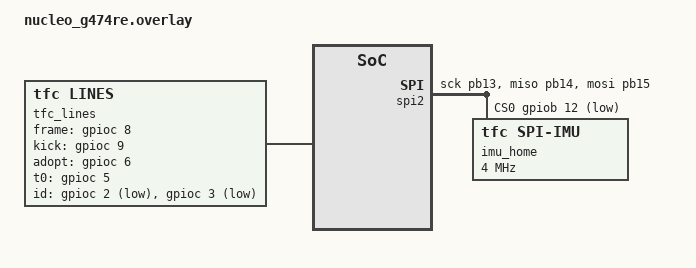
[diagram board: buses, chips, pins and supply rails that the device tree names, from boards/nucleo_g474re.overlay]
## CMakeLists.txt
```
cmake_minimum_required(VERSION 3.20.0)
find_package(Zephyr REQUIRED HINTS $ENV{ZEPHYR_BASE})
project(tfc_app LANGUAGES C CXX)

# core/ is consumed as-is: header-only, no heap, no exceptions, no RTTI.
target_include_directories(app PRIVATE ${CMAKE_CURRENT_LIST_DIR}/../../core/include ${CMAKE_CURRENT_LIST_DIR}/../common)
target_sources(app PRIVATE src/main.cpp)

# The release this image is (ADR-021): the first four hex digits of the source's git hash, unless CONFIG_TFC_RELEASE_ID names one. Two images built from different commits report
# different releases in their heartbeat; the golden release is simply the image built from an older tagged commit. Outside a git checkout it is 0, "not reported".
execute_process(COMMAND git rev-parse --short=4 HEAD WORKING_DIRECTORY ${CMAKE_CURRENT_LIST_DIR} OUTPUT_VARIABLE TFC_GIT_SHORT OUTPUT_STRIP_TRAILING_WHITESPACE ERROR_QUIET RESULT_VARIABLE TFC_GIT_RC)
if(TFC_GIT_RC EQUAL 0 AND TFC_GIT_SHORT MATCHES "^[0-9a-f][0-9a-f][0-9a-f][0-9a-f]$")
  target_compile_definitions(app PRIVATE TFC_RELEASE_HASH_AUTO=0x${TFC_GIT_SHORT})
else()
  target_compile_definitions(app PRIVATE TFC_RELEASE_HASH_AUTO=0)
endif()

# Another vehicle's tables: `west build ... -DTFC_TABLES_HEADER=/path/flight_tables.hpp` (main.cpp includes it in place of the committed one). Unset: the committed tables, as always.
if(DEFINED TFC_TABLES_HEADER)
  target_compile_definitions(app PRIVATE "TFC_FLIGHT_TABLES_HEADER=\"${TFC_TABLES_HEADER}\"")
endif()

# Replicas must compute the same bits as each other and as the host (ADR-006): no fused multiply-add (-ffast-math stays off).
target_compile_options(app PRIVATE -ffp-contract=off)
```

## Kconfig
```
# SPDX-License-Identifier: MIT
mainmenu "Triplex flight computer"

config TFC_NODE_ID
	int "Flight computer node id (0 = A, 1 = B, 2 = C)"
	default 0
	range 0 2
	help
	  The same image runs on every flight computer; only this id differs (STAGED_BUILD rule 1).
	  Node 0 is the sync master at power-up; nodes 1 and 2 follow its SYNC and take over, lowest first, if it stops.

config TFC_SYNC_STAGGER_US
	int "Stagger of the SYNC wait windows between nodes (microseconds)"
	default 500
	range 200 3000
	help
	  The wait for SYNC lasts 1.0 ms plus this much for each node after A, so the lowest node's takeover SYNC is heard by the others before their own
	  windows end (ADR-025). It must exceed the receive latency of a frame. The host's native_sim CAN driver polls its socket every millisecond, so
	  the host board file lengthens it.

config TFC_VOTE_US
	int "Time of the vote within the frame (microseconds after SYNC)"
	default 7000
	range 6000 9000
	help
	  The schedule's vote slot (ARCHITECTURE section 3). The host's native_sim CAN driver polls its socket every millisecond, so with several
	  instances on one vcan0 a peer's command can reach a node up to about 2 ms after the peer sent it; the host board file moves the vote later.

config TFC_FLIGHT_FUNCTION
	bool "Compute the command with the flight function"
	default n
	help
	  On: the command is the output of the sensor consensus, the attitude estimator and the scheduled controller (core/include/tfc/flight.hpp),
	  using the pitch program and gains in flight_tables.hpp. Off (default): a scripted function of the frame number, which the Python virtual
	  peers reproduce bit for bit, so they can stand in for the other two nodes.

config TFC_ESTIMATOR_NO_ACCEL
	bool "The attitude estimator ignores the accelerometer"
	depends on TFC_FLIGHT_FUNCTION
	default n
	help
	  On: the attitude is the gyro's integral (EstimatorConfig::use_accel false), as for a vehicle that flies under thrust, where the accelerometer reads the thrust and not gravity.
	  Off (default): the accelerometer corrects the tilt while the specific force is within 0.3 g of 1 g, as on the platform on the bench. The rig builds a vehicle other than the
	  reference one with this on (tools/bench/build_vehicle_rig.py).

config TFC_LAUNCH_SEQUENCE
	bool "The launch sequence: pad calibration, mission frame, launch and scrub, go/no-go"
	depends on TFC_FLIGHT_FUNCTION
	default n
	help
	  On: each computer calibrates its own gyro on the pad (10 s at rest) and subtracts the bias before it sends; the mission frame rides in SYNC (the sync master
	  starts it on an authenticated `launch` that passes the go/no-go, and scrubs on a failure during the 10 s countdown); the schedules follow the frames since T-zero
	  and sit at their first point on the pad; the heartbeat carries a ready bit (docs/design/LAUNCH_SEQUENCE.md). Off: the schedules follow the SYNC frame number, as before.

config TFC_PHASES
	bool "Keep the mission phase and the WARM role (ADR-023)"
	default n
	help
	  On: the manager starts in the power-up phase; the authenticated `phase` command changes it (refused when fewer computers vote than the new phase's minimum), `warm` rests
	  a computer (judged by the shadow vote, not voting; `reintegrate` promotes it) and the `disable` tiers follow the phase (docs/design/MISSION_PHASES.md). Below the minimum is reported,
	  never acted on. Off: the interlock tiers of ADR-019 apply, as before.

config TFC_SENSOR_SPLIT
	bool "Judge each IMU apart from its computer (the sensor/compute split)"
	default TFC_FLIGHT_FUNCTION
	help
	  On: a bad IMU is excluded from the sensor consensus and its computer stays a voter for commands for as long as its commands agree; a bad computer is
	  excluded from the command vote and its IMU stays in the consensus (ADR-020 case 1, TS-15: option B). Off: a computer is one unit and a bad IMU latches the
	  whole computer, which is what the scripted virtual peers' fault tests expect. On by default with the flight function, which is where the consensus exists.

config TFC_RESYNC_PERIOD
	int "State resynchronisation period in frames (0: off)"
	default 100
	range 0 10000
	help
	  With the flight function on, every this many frames the computers exchange their estimator and controller state (four frames each, 0x420 to 0x42B) and
	  each adopts the mid-value of the healthy computers' states, if it has all of them (docs/design/RESYNC.md, ADR-030, TS-23). 100 is the proposed default (TS-23).
	  The manager's digest persistence is then set to twice this plus 50 frames, so that a mismatch the resync would heal is not counted. Ignored without the
	  flight function.

config TFC_RESYNC_GROUP
	hex "Computers that take part in the resynchronisation (bit n = node n)"
	default 0x07
	range 0 0x07
	help
	  The same value on every computer. A computer outside the group neither sends its state nor adopts the vote: the diverse computer of ADR-021 (the
	  golden release) is left out with 0x03 so that the resync does not erase the differences it exists to show (docs/design/RESYNC.md section 6).

config TFC_TEST_DROP_PEERS_FIRST
	int "Test knob: first frame in which this computer withholds every sensor frame from its flight function"
	default 0
	help
	  A test aid, off at 0 together with the next one. From the frame with this SYNC number, for TFC_TEST_DROP_PEERS_FRAMES frames, this computer does not give
	  any sensor frame, its peers' or its own, to its flight function (the manager still sees them), so its consensus has no trustworthy gyro, its estimator holds its
	  rates and the replicas diverge deterministically. Used by the live resynchronisation test (sim/tests/test_live_resync.py); never set in a flight build.

config TFC_TEST_DROP_PEERS_FRAMES
	int "Test knob: how many frames the peers' sensor frames are withheld"
	default 0

config TFC_RELEASE_ID
	hex "The release this image reports in its heartbeat (0: the first four hex digits of the git hash)"
	default 0x0
	range 0 0xFFFF
	help
	  Computers on different releases are compared with the version tolerance and not blamed for differing from each other (ADR-021, docs/design/RESYNC.md section 6). The default
	  makes every image built from a different commit a different release. Set it by hand to build two releases from one tree (the live mixed-release test does).

config TFC_TEST_HANG_AT_FRAME
	int "Test knob: from this frame the end-of-frame KICK stops (0: off)"
	default 0
	help
	  A bench aid for the supervisor's procedure (P-S2-03): from the frame with this SYNC number the node no longer raises its KICK line, while everything else
	  (frames, heartbeat, watchdog) goes on, so the supervisor has to be the one that acts. Never set in a flight build.

config TFC_TEST_T0_AT_FRAMES_TO_ZERO
	int "Test knob: the T0 line rises when this many frames remain to T-zero (0: off)"
	default 0
	help
	  A bench aid for the launch procedure on a board without the supervisor: the line is read as high from the frame in the countdown that has this many frames left, which stands in
	  for the supervisor's edge (the sync master accepts it only in the last second, `SyncClock::kT0Window`). Never set in a flight build.

config TFC_TEST_CMD_OFFSET_MDEG
	int "Test knob: milli-degrees added to this computer's pitch command (0: off)"
	default 0
	help
	  A bench aid (P-S3-01, the live mixed-release test): a computer whose commands are off by a known amount. Never set in a flight build.

config TFC_TEST_GYRO_BIAS_MDPS
	int "Test knob: milli-dps added to this computer's gyro x sample (0: off)"
	default 0
	help
	  A bench aid (P-S3-01): an IMU with a known bias, sent as it is, so that the sensor consensus and the sensor split can be exercised on the real bus. Never set in a flight build.

config TFC_TEST_GYRO_DRIFT_MDPS_PER_FRAME
	int "Test knob: milli-dps added to the gyro x bias in every frame, cumulative (0: off)"
	default 0
	help
	  A bench aid (P-S3-01): an IMU that drifts, 50 being 0.05 dps per frame. Never set in a flight build.

config TFC_TEST_CLOCK_PPM
	int "Test knob: the sync master's frame period is this many ppm long (0: off)"
	default 0
	help
	  A bench aid (P-S2-03): a master whose frame clock runs slow (positive) or fast (negative) by a known amount, for the supervisor's period check. Only the master drives the
	  period; followers lock to SYNC. Never set in a flight build.

config TFC_SIM_BUS_IMU
	bool "Take the sensor input from the simulator's frames on the bus"
	default n
	help
	  On: the node's simulated IMU reads the vehicle simulator's body rates and accelerations (ids 0x501 and 0x502, sent just after SYNC) and adds
	  its own noise, instead of the scripted motion. Only for host builds; on the board the IMU is the ISM330DHCX.

config TFC_AUTO_REINTEGRATE
	bool "Automatically readmit a node after a first, transient-looking latch"
	default n
	help
	  Off (default): a latched node is only readmitted when an operator sends a "reintegrate" ground
	  command, and only after it has passed probation (the Space Shuttle / airliner practice).
	  On: after the minimum dwell, a node whose FIRST latch had a transient-looking cause (missing or
	  damaged frames, one vote episode) goes on probation by itself. A stuck sensor, a digest
	  mismatch and a repeat offender are never readmitted automatically. See docs/decisions/DECISIONS.md ADR-010.

config TFC_GROUND_KEY
	string "Ground-command authentication key (32 hex digits = 128 bits)"
	default "000102030405060708090a0b0c0d0e0f"
	help
	  The shared key for the SipHash-2-4 tag on ground commands (docs/decisions/DECISIONS.md ADR-019). The default is the PUBLIC
	  bench key that the host tools and the tests also use, so the bench works out of the box. It protects nothing:
	  provision your own before any real use (docs/design/FUTURE_WORK.md). The value ends up in the binary and in the build
	  directory: it is a bench secret at best, not a flight key store.

source "Kconfig.zephyr"

config TFC_WATCHDOG_TIMEOUT_MS
	int "Hardware watchdog timeout (ms)"
	default 100
	range 20 4000
	help
	  The watchdog is serviced once per frame, at the end of a completed frame (TFC-FDIR-038). The default is ten frames: loose
	  enough to survive a long console line on the target, tight enough to catch a hang in a tenth of a second. The requirement's
	  proposal is three frames (30 ms); tighten it once the frame time with the console is measured on the board.

config TFC_QUARANTINE_ON_RESET_LOOP
	bool "Stay silent after a reset loop"
	default y
	help
	  After TFC_RESET_LOOP_BOOTS fault resets in a row, each after a boot shorter than TFC_SHORT_BOOT_S, the node stops transmitting
	  and says so on the console once a second until it is power-cycled (TFC-FDIR-042). The others then see a silent node.

config TFC_RESET_LOOP_BOOTS
	int "Short boots in a row that make a reset loop"
	default 3
	range 1 20

config TFC_SHORT_BOOT_S
	int "A boot shorter than this many seconds is short"
	default 60
	range 1 3600
```

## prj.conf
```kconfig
CONFIG_CPP=y
CONFIG_STD_CPP17=y
# Flight-code rules (ARCHITECTURE.md section 6): no exceptions, no RTTI.
CONFIG_CPP_EXCEPTIONS=n
CONFIG_CPP_RTTI=n
# core/ uses <array> and <cmath>, so link the toolchain's full libstdc++ (header-only use, no heap).
CONFIG_REQUIRES_FULL_LIBCPP=y

# Flight bus
CONFIG_CAN=y

# The hardware seams of src/hw.hpp: the IMU's SPI bus, the discrete lines, the watchdog, the reset cause.
CONFIG_SPI=y
CONFIG_GPIO=y
CONFIG_WATCHDOG=y
CONFIG_HWINFO=y

# The frame schedule has 0.5 ms slots (ARCHITECTURE.md section 3): 100 us kernel ticks, not the default 10 ms.
CONFIG_SYS_CLOCK_TICKS_PER_SEC=10000

# No dynamic memory (JPL Power of Ten rule 3, docs/verification/CODING_STANDARD.md). With the C library's malloc removed, any
# accidental use of the heap becomes a link error instead of a field failure.
CONFIG_COMMON_LIBC_MALLOC=n

# The frame loop runs on the main thread, with a drain lambda and a few frames on its stack.
CONFIG_MAIN_STACK_SIZE=4096
```

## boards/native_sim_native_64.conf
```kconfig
# Run in wall-clock time so the host's SocketCAN peers see a real 100 Hz schedule.
CONFIG_NATIVE_SIM_SLOWDOWN_TO_REAL_TIME=y

# The host CAN driver polls the socket every 1 ms (zephyr/drivers/can/can_native_linux.c), so a peer's frames reach us up to 1 ms late and a follower
# locks to SYNC up to 1 ms late: the vote moves from 7 ms to 8 ms, or about one command in eleven would miss it.
CONFIG_TFC_VOTE_US=8000

# ... and the takeover SYNC of B can reach C up to 1 ms after it was sent, so the stagger of the SYNC windows must exceed that (ADR-025).
CONFIG_TFC_SYNC_STAGGER_US=2500
```

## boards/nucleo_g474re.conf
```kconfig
# Receive timestamps on the FDCAN peripheral: the arrival time of every frame, for the margin telemetry of TFC-FDIR-037.
CONFIG_CAN_RX_TIMESTAMP=y

# A stack that overflows is caught by the MPU as a fatal fault (the node's handler records it, and the watchdog resets the board) instead of overwriting what lies below it (docs/design/FUTURE_WORK.md 6b item 12).
CONFIG_HW_STACK_PROTECTION=y
```

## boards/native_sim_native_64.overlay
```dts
/* Put the flight bus on the host's vcan0 (create it with sim/scripts/setup_vcan.sh). */
/ {
	chosen {
		zephyr,canbus = &can0;
	};
};

&can0 {
	status = "okay";
	host-interface = "vcan0";
};
```

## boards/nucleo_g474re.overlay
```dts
/* Nucleo-G474RE: the flight computer's wiring (docs/design/SUPERVISOR.md, docs/hardware/STAGED_BUILD.md rules 10 and 11).
 *
 * Every pin below was looked up in the morpho-connector map that Zephyr takes from ST's data
 * (boards/st/nucleo_g474re/st_morpho_connector.dtsi); the connector pin is in each comment. Check each against the
 * board in hand before wiring: a pin can be shared with a solder bridge or the ST-LINK.
 *
 * Avoided on purpose: PA5 (the user LED, the old SPI1 clock), PA2/PA3 (the ST-LINK serial port), PA13/PA14 (SWD),
 * PC13 (the user button), PC4/PC5 (USART1), PB8/PB9 (I2C1), PA11/PA12 (FDCAN1, from the board file).
 */

/* The home IMU on SPI2. Chip select is a plain GPIO, so the hardware NSS function is dropped from the pin list.
 * SCK PB13 (CN10 30), MISO PB14 (CN10 28), MOSI PB15 (CN10 26), CS PB12 (CN10 16). */
&spi2 {
	pinctrl-0 = <&spi2_sck_pb13 &spi2_miso_pb14 &spi2_mosi_pb15>;
	pinctrl-names = "default";
	cs-gpios = <&gpiob 12 (GPIO_ACTIVE_LOW | GPIO_PULL_UP)>;
	status = "okay";

	imu_home: imu@0 {
		compatible = "tfc,spi-imu";
		reg = <0>;
		spi-max-frequency = <4000000>;
	};
};

/* SPI3 is reserved for the backup IMU of the ring re-homing (ADR-020, a later stretch): SCK PC10 (CN7 1),
 * MISO PC11 (CN7 2), MOSI PC12 (CN7 3), CS PA15 (CN7 17). Disabled so that nothing drives those pins yet. */
&spi3 {
	status = "disabled";
};

/* SPI1 is not used: it would take PA5, the LED pin. */
&spi1 {
	status = "disabled";
};

/ {
	tfc_lines: tfc-lines {
		compatible = "tfc,lines";
		/* FRAME PC8 (CN10 2), KICK PC9 (CN10 1), ADOPT PC6 (CN10 4), T0 PC5 (CN10 6: check against UM2505 before wiring); straps PC2 (CN7 35) and PC3 (CN7 37), to ground = 1 */
		frame-gpios = <&gpioc 8 GPIO_ACTIVE_HIGH>;
		kick-gpios = <&gpioc 9 GPIO_ACTIVE_HIGH>;
		adopt-gpios = <&gpioc 6 (GPIO_ACTIVE_HIGH | GPIO_PULL_DOWN)>;
		t0-gpios = <&gpioc 5 (GPIO_ACTIVE_HIGH | GPIO_PULL_DOWN)>;
		id-gpios = <&gpioc 2 (GPIO_ACTIVE_LOW | GPIO_PULL_UP)>,
			   <&gpioc 3 (GPIO_ACTIVE_LOW | GPIO_PULL_UP)>;
	};
};
```

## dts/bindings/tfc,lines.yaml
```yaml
# SPDX-License-Identifier: MIT
description: |
  The discrete lines between a node and the supervisor (docs/design/SUPERVISOR.md), and the node-id strap pins.
  FRAME: a pulse at the start of every frame. KICK: a pulse at the end of a completed frame, driven only from the
  end-of-frame path (TFC-FDIR-038). ADOPT: an input from the supervisor (the ring re-homing stretch, ADR-020). T0: an input from the supervisor, high from its T-zero on (ADR-028).

compatible: "tfc,lines"

properties:
  frame-gpios:
    type: phandle-array
    required: true
  kick-gpios:
    type: phandle-array
    required: true
  adopt-gpios:
    type: phandle-array
  t0-gpios:
    type: phandle-array
    description: An input from the supervisor, high from its T-zero on (ADR-028). Optional; without it the countdown runs out on its own.
  id-gpios:
    type: phandle-array
    required: true
    description: Two straps, bit 0 then bit 1; a strap tied to ground reads as 1 (active low).
```

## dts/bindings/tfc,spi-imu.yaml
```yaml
# SPDX-License-Identifier: MIT
description: |
  A SPI IMU that the application drives with its own register driver (core/include/tfc/ism330dhcx.hpp), so that the
  chip is configured in exactly one place and the same code is tested on the host. Deliberately not "st,ism330dhcx":
  that would also start Zephyr's own driver on the same part.

compatible: "tfc,spi-imu"

include: spi-device.yaml
```

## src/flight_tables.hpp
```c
// SPDX-License-Identifier: MIT
// GENERATED by tools/vehicle/gen_tables.cpp from the 6-DOF vehicle's nominal ascent (sim/vehicle/design.hpp). Do not edit.
// Regenerate: build/host/tfc_gen_tables firmware/app/src/flight_tables.hpp
#pragma once
#include "tfc/controller.hpp"

namespace fc::tables {

inline void load(tfc::GainSchedule& gains, tfc::Guidance& guidance) {
  (void)guidance.add(1U, 0U, 0.0F);
  (void)guidance.add(1U, 666U, 0.0F);
  (void)guidance.add(1U, 1333U, 1.0F);
  (void)guidance.add(1U, 2000U, 1.9371593F);
  (void)guidance.add(1U, 2666U, 3.6858659F);
  (void)guidance.add(1U, 3333U, 5.882858F);
  (void)guidance.add(1U, 4000U, 8.407911F);
  (void)guidance.add(1U, 4666U, 11.147839F);
  (void)guidance.add(1U, 5333U, 14.034486F);
  (void)guidance.add(1U, 6000U, 17.008535F);
  (void)guidance.add(1U, 6666U, 19.983587F);
  (void)guidance.add(1U, 7333U, 22.851122F);
  (void)guidance.add(1U, 8000U, 25.538433F);
  (void)guidance.add(1U, 8666U, 28.024189F);
  (void)guidance.add(1U, 9333U, 30.31013F);
  (void)guidance.add(1U, 10000U, 32.395042F);
  (void)gains.add(0U, tfc::ControllerGains{0.76568544F, 0.4900387F, 0.15313709F});
  (void)gains.add(600U, tfc::ControllerGains{0.74287623F, 0.47348642F, 0.14857525F});
  (void)gains.add(1200U, tfc::ControllerGains{0.7293025F, 0.4577706F, 0.14586051F});
  (void)gains.add(1800U, tfc::ControllerGains{0.72768444F, 0.4429209F, 0.14553688F});
  (void)gains.add(2400U, tfc::ControllerGains{0.74021304F, 0.42900166F, 0.1480426F});
  (void)gains.add(3000U, tfc::ControllerGains{0.76779276F, 0.41611275F, 0.15355855F});
  (void)gains.add(3600U, tfc::ControllerGains{0.8093179F, 0.40438396F, 0.16186358F});
  (void)gains.add(4200U, tfc::ControllerGains{0.86019343F, 0.39396638F, 0.17203869F});
  (void)gains.add(4800U, tfc::ControllerGains{0.9112553F, 0.38502046F, 0.18225107F});
  (void)gains.add(5400U, tfc::ControllerGains{0.9507644F, 0.3776888F, 0.19015288F});
  (void)gains.add(6000U, tfc::ControllerGains{0.9737883F, 0.37203085F, 0.19475767F});
  (void)gains.add(6600U, tfc::ControllerGains{0.9788507F, 0.36796567F, 0.19577014F});
  (void)gains.add(7200U, tfc::ControllerGains{0.9452994F, 0.36543778F, 0.18905987F});
  (void)gains.add(7800U, tfc::ControllerGains{0.8928064F, 0.36414066F, 0.17856129F});
  (void)gains.add(8400U, tfc::ControllerGains{0.82583344F, 0.3635682F, 0.16516669F});
  (void)gains.add(9000U, tfc::ControllerGains{0.75340635F, 0.36311954F, 0.15068127F});
}

}  // namespace fc::tables
```

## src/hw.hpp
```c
// SPDX-License-Identifier: MIT
// The seams between the frame loop and the hardware. Each one has a real implementation (chosen by what the board's
// devicetree provides) and a stand-in for `native_sim`, so main.cpp is the same on both and `core/` never sees a driver:
//   Imu       the ISM330DHCX over SPI (core/include/tfc/ism330dhcx.hpp)   | the simulated IMU (sim_imu.hpp)
//   Lines     FRAME and KICK pulses to the supervisor, the node-id straps | nothing
//   Watchdog  the independent hardware watchdog                           | nothing
//   reset_cause()  why the chip reset, from the hardware                   | power-on
// No virtual functions: the choice is made at compile time, as the flight binary may contain no vtables (tools/check_elf.sh).
// Include the core headers BEFORE this file (Zephyr defines a `__unused` macro that breaks a glibc header).
#pragma once
#include <array>
#include <cstdint>

#include "hw_common.hpp"
#include "sim_imu.hpp"
#include "tfc/ism330dhcx.hpp"
#include "tfc/protocol.hpp"
#include "tfc/resetlog.hpp"

#include <zephyr/device.h>
#include <zephyr/devicetree.h>
#include <zephyr/drivers/gpio.h>
#include <zephyr/drivers/hwinfo.h>
#include <zephyr/drivers/spi.h>
#include <zephyr/drivers/watchdog.h>
#include <zephyr/kernel.h>

namespace fc::hw {

// ---------------------------------------------------------------- IMU

// The simulated IMU: the same motion the virtual peers feel plus this node's own noise.
class SimImu {
 public:
  explicit SimImu(unsigned node) : noise_(0x1234U + node) {}
  bool init() { return true; }
  void set_frame(uint32_t) {}
  void feed(const tfc::Frame&) {}
  bool sample(uint32_t frame, tfc::Vec3& gyro, tfc::Vec3& accel) {
    const fc::sim::Truth tr = fc::sim::truth(frame);
    for (unsigned i = 0; i < 3U; ++i) {
      gyro.v[i] = static_cast<float>(tr.gyro[i]) + 0.17F * noise_.uniform();
      accel.v[i] = static_cast<float>(tr.accel[i]) + 0.0035F * noise_.uniform();
    }
    return true;
  }
  [[nodiscard]] uint32_t stale() const { return 0U; }
  [[nodiscard]] uint32_t errors() const { return 0U; }

 private:
  fc::sim::Noise noise_;
};

// The simulated IMU fed by the vehicle simulator over the bus: the body rates and acceleration of frame k arrive as 0x501 and 0x502 just after SYNC; this
// node adds its own noise. If either frame did not arrive for this frame the sample is missing, as for any dead sensor.
class BusImu {
 public:
  explicit BusImu(unsigned node) : noise_(0x1234U + node) {}
  bool init() { return true; }
  // The simulator's frames carry the frame number (low byte) they are for; a frame of another cycle is stale and is not used.
  void set_frame(uint32_t k) { expect_ = static_cast<uint8_t>(k); }
  void feed(const tfc::Frame& f) {
    if (f.data[6] != expect_) {
      ++stale_frames_;
      return;
    }
    if (f.id == tfc::id::kSimRates) {
      const tfc::DecodedVec3 d = tfc::unpack_vec3(f, tfc::kGyroLsbDps);
      have_rates_ = d.ok;
      rates_ = d.x;
    } else if (f.id == tfc::id::kSimAccel) {
      const tfc::DecodedVec3 d = tfc::unpack_vec3(f, tfc::kAccelLsbG);
      have_accel_ = d.ok;
      accel_ = d.x;
    }
  }
  bool sample(uint32_t, tfc::Vec3& gyro, tfc::Vec3& accel) {
    const bool ok = have_rates_ && have_accel_;
    if (!ok) {
      ++missing_;
    } else {
      for (unsigned i = 0; i < 3U; ++i) {
        gyro.v[i] = rates_.v[i] + (0.17F * noise_.uniform());
        accel.v[i] = accel_.v[i] + (0.0035F * noise_.uniform());
      }
    }
    have_rates_ = false;  // each frame needs its own
    have_accel_ = false;
    return ok;
  }
  [[nodiscard]] uint32_t stale() const { return stale_frames_; }
  [[nodiscard]] uint32_t errors() const { return missing_; }

 private:
  fc::sim::Noise noise_;
  uint8_t expect_ = 0U;
  uint32_t stale_frames_ = 0U;
  tfc::Vec3 rates_{};
  tfc::Vec3 accel_{};
  bool have_rates_ = false;
  bool have_accel_ = false;
  uint32_t missing_ = 0U;
};

#if DT_NODE_EXISTS(DT_NODELABEL(imu_home))

// Raw SPI to the part. The chip uses SPI mode 3, as in Zephyr's own driver for it.
class ZephyrSpi {
 public:
  bool ready() const { return device_is_ready(spec().bus); }
  bool transfer(const uint8_t* tx, uint8_t* rx, uint8_t len) {
    const spi_buf txb{const_cast<uint8_t*>(tx), len};
    const spi_buf rxb{rx, len};
    const spi_buf_set txs{&txb, 1U};
    const spi_buf_set rxs{&rxb, 1U};
    return spi_transceive_dt(&spec(), &txs, &rxs) == 0;
  }
  void delay_us(uint32_t us) { k_usleep(static_cast<int32_t>(us)); }

 private:
  static const spi_dt_spec& spec() {
    static const spi_dt_spec s =
        SPI_DT_SPEC_GET(DT_NODELABEL(imu_home), SPI_WORD_SET(8) | SPI_TRANSFER_MSB | SPI_MODE_CPOL | SPI_MODE_CPHA);
    return s;
  }
};

// The ISM330DHCX: configured once, then read once per frame in a single burst.
class Ism330Imu {
 public:
  explicit Ism330Imu(unsigned) : regs_(spi_), chip_(regs_, tfc::ism::Config{}) {}

  bool init() {
    if (!spi_.ready()) {
      printk("IMU: SPI bus not ready\n");
      return false;
    }
    const tfc::ism::Status s = chip_.init();
    if (s != tfc::ism::Status::Ok) {
      printk("IMU: init failed, status %u (1 bus, 2 wrong id, 3 reset timeout, 4 config mismatch)\n", static_cast<unsigned>(s));
    }
    return s == tfc::ism::Status::Ok;
  }

  // False if the bus failed: the caller then sends nothing for this frame, which peers see as a missing sample.
  bool sample(uint32_t, tfc::Vec3& gyro, tfc::Vec3& accel) {
    tfc::ism::RawSample raw;
    if (chip_.read(raw) != tfc::ism::Status::Ok) {
      ++errors_;
      return false;
    }
    if (!raw.gyro_new || !raw.accel_new) {
      ++stale_;  // the previous sample again: counted here, and left to the stuck detector on the bus
    }
    tfc::ism::convert(raw, chip_.config(), gyro, accel);
    return true;
  }
  void set_frame(uint32_t) {}
  void feed(const tfc::Frame&) {}
  [[nodiscard]] uint32_t stale() const { return stale_; }
  [[nodiscard]] uint32_t errors() const { return errors_; }

 private:
  ZephyrSpi spi_;
  tfc::ism::SpiRegisters<ZephyrSpi> regs_;
  tfc::ism::Ism330<tfc::ism::SpiRegisters<ZephyrSpi>> chip_;
  uint32_t stale_ = 0U;
  uint32_t errors_ = 0U;
};

using Imu = Ism330Imu;
#elif IS_ENABLED(CONFIG_TFC_SIM_BUS_IMU)
using Imu = BusImu;
#else
using Imu = SimImu;
#endif

// ---------------------------------------------------------------- lines to the supervisor

#if DT_NODE_EXISTS(DT_NODELABEL(tfc_lines))

class Lines {
 public:
  void init() {
    configure(frame_, GPIO_OUTPUT_INACTIVE);
    configure(kick_, GPIO_OUTPUT_INACTIVE);
    configure(adopt_, GPIO_INPUT);
#if DT_NODE_HAS_PROP(DT_NODELABEL(tfc_lines), t0_gpios)
    configure(t0_, GPIO_INPUT);
#endif
    configure(id0_, GPIO_INPUT);
    configure(id1_, GPIO_INPUT);
  }
  void frame(bool on) { set(frame_, on); }
  void kick(bool on) { set(kick_, on); }
  [[nodiscard]] bool adopt() const { return gpio_pin_get_dt(&adopt_) > 0; }
  // The supervisor's T0 line (docs/design/LAUNCH_SEQUENCE.md section 2): high from the supervisor's T-zero on. A board without the pin reads it as low for ever.
#if DT_NODE_HAS_PROP(DT_NODELABEL(tfc_lines), t0_gpios)
  [[nodiscard]] bool t0() const { return gpio_pin_get_dt(&t0_) > 0; }
#else
  [[nodiscard]] bool t0() const { return false; }
#endif
  // The node id on the two straps (a strap tied to ground reads as 1), or -1 if a pin cannot be read.
  [[nodiscard]] int node_id() const {
    const int b0 = gpio_pin_get_dt(&id0_);
    const int b1 = gpio_pin_get_dt(&id1_);
    return (b0 < 0 || b1 < 0) ? -1 : (b0 + (2 * b1));
  }

 private:
  static void configure(const gpio_dt_spec& s, gpio_flags_t flags) {
    if (gpio_is_ready_dt(&s)) {
      (void)gpio_pin_configure_dt(&s, flags);
    }
  }
  static void set(const gpio_dt_spec& s, bool on) { (void)gpio_pin_set_dt(&s, on ? 1 : 0); }

  gpio_dt_spec frame_ = GPIO_DT_SPEC_GET(DT_NODELABEL(tfc_lines), frame_gpios);
  gpio_dt_spec kick_ = GPIO_DT_SPEC_GET(DT_NODELABEL(tfc_lines), kick_gpios);
  gpio_dt_spec adopt_ = GPIO_DT_SPEC_GET(DT_NODELABEL(tfc_lines), adopt_gpios);
#if DT_NODE_HAS_PROP(DT_NODELABEL(tfc_lines), t0_gpios)
  gpio_dt_spec t0_ = GPIO_DT_SPEC_GET(DT_NODELABEL(tfc_lines), t0_gpios);
#endif
  gpio_dt_spec id0_ = GPIO_DT_SPEC_GET_BY_IDX(DT_NODELABEL(tfc_lines), id_gpios, 0);
  gpio_dt_spec id1_ = GPIO_DT_SPEC_GET_BY_IDX(DT_NODELABEL(tfc_lines), id_gpios, 1);
};

#else

class Lines {
 public:
  void init() {}
  void frame(bool) {}
  void kick(bool) {}
  [[nodiscard]] bool adopt() const { return false; }
  [[nodiscard]] bool t0() const { return false; }
  [[nodiscard]] int node_id() const { return -1; }
};

#endif

}  // namespace fc::hw
```

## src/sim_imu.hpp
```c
// SPDX-License-Identifier: MIT
// Simulated IMU for host runs: the same motion the virtual peers feel (sim/tfc_peers/peers.py,
// truth()) plus this node's own noise. On the target this file is replaced by the ISM330DHCX
// driver; nothing else in the app changes.
#pragma once
#include <array>
#include <cmath>
#include <cstdint>

#include "tfc/protocol.hpp"

namespace fc::sim {

constexpr double kTau = 6.283185307179586;
constexpr uint32_t kFrameUs = 10000U;

struct Truth {
  std::array<double, 3> gyro{};   // dps
  std::array<double, 3> accel{};  // g
};

// Must stay operation-for-operation identical to peers.py so command and digest match bit for bit.
inline Truth truth(uint32_t frame) {
  const double t = static_cast<double>(frame) * static_cast<double>(kFrameUs) / 1e6 + 0.0005;
  Truth r;
  r.gyro = {10.0 * std::sin(kTau * 0.8 * t), 6.0 * std::cos(kTau * 0.5 * t), 3.0 * std::sin(kTau * 0.3 * t)};
  r.accel = {0.05 * std::sin(kTau * 0.4 * t), 0.03 * std::cos(kTau * 0.6 * t), 1.0};
  return r;
}

inline double clamp(double v, double lim) { return v > lim ? lim : (v < -lim ? -lim : v); }

// Healthy replicas compute the same command from the same truth, so the commands and the
// estimator-state digest agree exactly (ADR-006).
inline tfc::Command command(const Truth& t, uint32_t frame) {
  tfc::Command c;
  const double pitch = clamp(0.1 * t.gyro[0], 30.0);
  const double yaw = clamp(0.1 * t.gyro[1], 30.0);
  c.pitch_deg = static_cast<float>(pitch);
  c.yaw_deg = static_cast<float>(yaw);
  const int32_t qp = tfc::quantize(c.pitch_deg, tfc::kCmdLsbDeg);
  const int32_t qy = tfc::quantize(c.yaw_deg, tfc::kCmdLsbDeg);
  const uint32_t mix = static_cast<uint32_t>(qp) * 31U + static_cast<uint32_t>(qy) * 17U + frame * 40503U;
  c.state_digest = static_cast<uint16_t>(mix & 0xFFFFU);
  return c;
}

// Deterministic per-node noise (same LCG as the SIL tests).
class Noise {
 public:
  explicit Noise(uint32_t seed) : s_(seed) {}
  float uniform() {  // [-1, 1)
    s_ = s_ * 1664525U + 1013904223U;
    return static_cast<float>(s_ >> 8) / 8388608.0F - 1.0F;
  }

 private:
  uint32_t s_;
};

}  // namespace fc::sim
```
